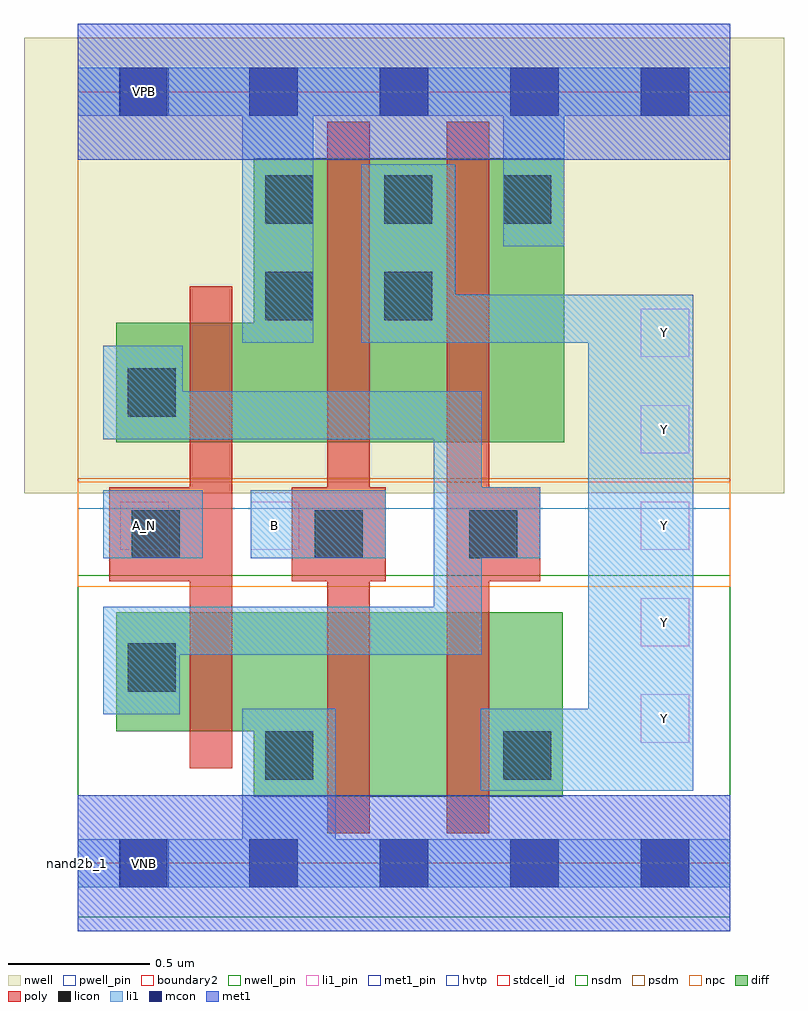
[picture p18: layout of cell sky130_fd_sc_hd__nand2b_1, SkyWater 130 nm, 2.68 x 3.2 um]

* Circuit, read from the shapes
.subckt sky130_fd_sc_hd__nand2b_1 A_N B VGND VNB VPB VPWR Y
XM1 VGND A_N n1 VNB sky130_fd_pr__nfet_01v8 w=0.42 l=0.15
XM2 n2 B VGND VNB sky130_fd_pr__nfet_01v8 w=0.65 l=0.15
XM3 Y n1 n2 VNB sky130_fd_pr__nfet_01v8 w=0.65 l=0.15
XM4 VPWR A_N n1 VPB sky130_fd_pr__pfet_01v8_hvt w=0.42 l=0.15
XM5 Y B VPWR VPB sky130_fd_pr__pfet_01v8_hvt w=1 l=0.15
XM6 VPWR n1 Y VPB sky130_fd_pr__pfet_01v8_hvt w=1 l=0.15
.ends

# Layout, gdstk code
import gdstk
lib = gdstk.Library(unit=1e-6, precision=1e-09)
def R(c, l, rs):  # rectangles x0, y0, x1, y1
    for r in rs: c.add(gdstk.rectangle(r[:2], r[2:], *l))
def A(c, l, x, y, w, h, nx, ny, dx, dy):  # array of equal rectangles
    R(c, l, [(x+i*dx, y+j*dy, x+i*dx+w, y+j*dy+h) for i in range(nx) for j in range(ny)])
def P(c, l, *ps):  # polygons
    for p in ps: c.add(gdstk.Polygon(p, *l))
nwell_pin = (64, 16)
nwell = (64, 20)
diff = (65, 20)
poly = (66, 20)
licon = (66, 44)
li1_pin = (67, 16)
li1 = (67, 20)
mcon = (67, 44)
met1_pin = (68, 16)
met1 = (68, 20)
hvtp = (78, 44)
stdcell_id = (81, 4)
nsdm = (93, 44)
psdm = (94, 20)
npc = (95, 20)
pwell_pin = (122, 16)
boundary2 = (236, 0)

sky130_fd_sc_hd__nand2b_ = lib.new_cell('sky130_fd_sc_hd__nand2b_1')
R(sky130_fd_sc_hd__nand2b_, nwell_pin, [(0.15,2.635,0.32,2.805)])
R(sky130_fd_sc_hd__nand2b_, nwell, [(-0.19,1.305,2.49,2.91)])
P(sky130_fd_sc_hd__nand2b_, diff, [(1.715,2.485),(0.62,2.485),(0.62,1.905),(0.135,1.905),(0.135,1.485),(1.715,1.485)],
  [(1.71,0.885),(0.135,0.885),(0.135,0.465),(0.62,0.465),(0.62,0.235),(1.71,0.235)])
P(sky130_fd_sc_hd__nand2b_, poly, [(1.085,1.325),(1.03,1.325),(1.03,2.615),(0.88,2.615),(0.88,1.325),(0.755,1.325),(0.755,0.995),(0.88,0.995),(0.88,0.105),(1.03,0.105),(1.03,0.995),(1.085,0.995)],
  [(1.63,1.325),(1.45,1.325),(1.45,2.615),(1.3,2.615),(1.3,0.105),(1.45,0.105),(1.45,0.995),(1.63,0.995)],
  [(0.545,2.035),(0.395,2.035),(0.395,1.325),(0.11,1.325),(0.11,0.995),(0.395,0.995),(0.395,0.335),(0.545,0.335)])
A(sky130_fd_sc_hd__nand2b_, licon, 0.66, 2.255, 0.17, 0.17, 3, 1, 0.42, 0)
R(sky130_fd_sc_hd__nand2b_, licon, [(0.66,0.295,0.83,0.465), (1.5,0.295,1.67,0.465), (0.175,0.605,0.345,0.775), (0.19,1.075,0.36,1.245), (0.835,1.075,1.005,1.245), (1.38,1.075,1.55,1.245), (0.175,1.575,0.345,1.745), (0.66,1.915,0.83,2.085), (1.08,1.915,1.25,2.085)])
A(sky130_fd_sc_hd__nand2b_, li1_pin, 1.985, 0.425, 0.17, 0.17, 1, 5, 0, 0.34)
R(sky130_fd_sc_hd__nand2b_, li1_pin, [(0.15,1.105,0.32,1.275), (0.61,1.105,0.78,1.275)])
R(sky130_fd_sc_hd__nand2b_, li1, [(0.09,1.075,0.44,1.315), (0.61,1.075,1.085,1.315)])
P(sky130_fd_sc_hd__nand2b_, li1, [(2.3,0.085),(0.91,0.085),(0.91,0.545),(0.58,0.545),(0.58,0.085),(0,0.085),(0,-0.085),(2.3,-0.085)],
  [(2.3,2.805),(0,2.805),(0,2.635),(0.58,2.635),(0.58,1.835),(0.83,1.835),(0.83,2.635),(1.5,2.635),(1.5,2.175),(1.715,2.175),(1.715,2.635),(2.3,2.635)],
  [(2.17,2.005),(1.33,2.005),(1.33,2.465),(1,2.465),(1,1.835),(1.8,1.835),(1.8,0.545),(1.42,0.545),(1.42,0.255),(2.17,0.255)],
  [(1.63,1.325),(1.425,1.325),(1.425,1.665),(0.37,1.665),(0.37,1.825),(0.09,1.825),(0.09,1.495),(1.255,1.495),(1.255,0.905),(0.09,0.905),(0.09,0.525),(0.36,0.525),(0.36,0.735),(1.425,0.735),(1.425,1.075),(1.63,1.075)])
A(sky130_fd_sc_hd__nand2b_, mcon, 0.145, -0.085, 0.17, 0.17, 5, 2, 0.46, 2.72)
R(sky130_fd_sc_hd__nand2b_, met1_pin, [(0.15,-0.085,0.32,0.085), (0.15,2.635,0.32,2.805)])
R(sky130_fd_sc_hd__nand2b_, hvtp, [(0,1.25,2.3,2.72)])
R(sky130_fd_sc_hd__nand2b_, stdcell_id, [(0,0,2.3,2.72)])
R(sky130_fd_sc_hd__nand2b_, nsdm, [(0,-0.19,2.3,1.015)])
R(sky130_fd_sc_hd__nand2b_, psdm, [(0,1.355,2.3,2.91)])
R(sky130_fd_sc_hd__nand2b_, npc, [(0,0.975,2.3,1.345)])
R(sky130_fd_sc_hd__nand2b_, pwell_pin, [(0.15,-0.085,0.32,0.085)])
R(sky130_fd_sc_hd__nand2b_, boundary2, [(0,0,2.3,2.72)])
sky130_fd_sc_hd__nand2b_.add(gdstk.FlexPath([(0,2.72),(2.3,2.72)], 0.48, ends="flush", simple_path=True, layer=68, datatype=20))  # met1
sky130_fd_sc_hd__nand2b_.add(gdstk.FlexPath([(0,0),(2.3,0)], 0.48, ends="flush", simple_path=True, layer=68, datatype=20))  # met1
sky130_fd_sc_hd__nand2b_.add(gdstk.Label('Y', (2.07,1.87), layer=67, texttype=5))
sky130_fd_sc_hd__nand2b_.add(gdstk.Label('Y', (2.07,1.53), layer=67, texttype=5))
sky130_fd_sc_hd__nand2b_.add(gdstk.Label('Y', (2.07,0.51), layer=67, texttype=5))
sky130_fd_sc_hd__nand2b_.add(gdstk.Label('Y', (2.07,1.19), layer=67, texttype=5))
sky130_fd_sc_hd__nand2b_.add(gdstk.Label('Y', (2.07,0.85), layer=67, texttype=5))
sky130_fd_sc_hd__nand2b_.add(gdstk.Label('A_N', (0.235,1.19), layer=67, texttype=5))
sky130_fd_sc_hd__nand2b_.add(gdstk.Label('B', (0.695,1.19), layer=67, texttype=5))
sky130_fd_sc_hd__nand2b_.add(gdstk.Label('VPB', (0.235,2.72), layer=64, texttype=5))
sky130_fd_sc_hd__nand2b_.add(gdstk.Label('VNB', (0.235,0), layer=64, texttype=59))
sky130_fd_sc_hd__nand2b_.add(gdstk.Label('VGND', (0.23,0), layer=68, texttype=5))
sky130_fd_sc_hd__nand2b_.add(gdstk.Label('VPWR', (0.23,2.72), layer=68, texttype=5))
sky130_fd_sc_hd__nand2b_.add(gdstk.Label('nand2b_1', (0,0), layer=83, texttype=44))

lib.write_gds('sky130_fd_sc_hd__nand2b_1.gds')
